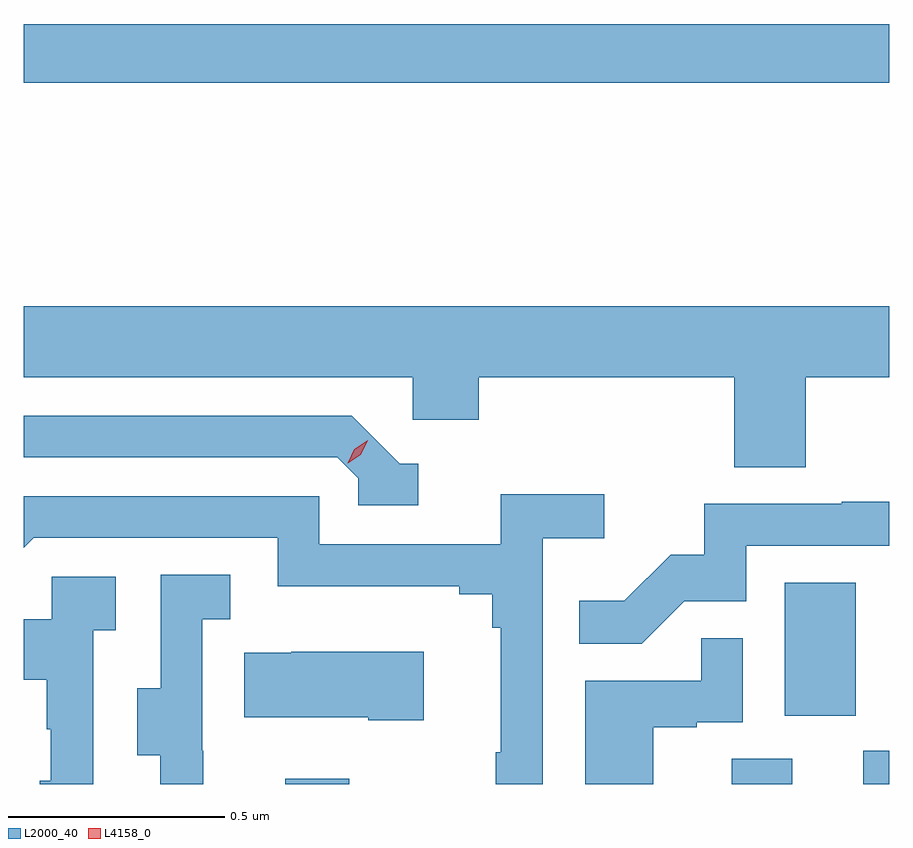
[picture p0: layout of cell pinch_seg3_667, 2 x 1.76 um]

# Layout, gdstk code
import gdstk
lib = gdstk.Library(unit=1e-6, precision=1e-09)
def R(c, l, rs):  # rectangles x0, y0, x1, y1
    for r in rs: c.add(gdstk.rectangle(r[:2], r[2:], *l))
def P(c, l, *ps):  # polygons
    for p in ps: c.add(gdstk.Polygon(p, *l))
L2000_40 = (2000, 40)
L4158_0 = (4158, 0)

pinch_seg3_667 = lib.new_cell('pinch_seg3_667')
R(pinch_seg3_667, L2000_40, [(1050.431,673.336,1050.579,673.348), (1051.463,673.336,1051.603,673.394), (1051.767,673.336,1051.827,673.413), (1051.586,673.494,1051.75,673.801), (1049.827,674.956,1051.827,675.092)])
P(pinch_seg3_667, L2000_40, [(1051.634,674.276),(1051.827,674.276),(1051.827,674.44),(1049.827,674.44),(1049.827,674.276),(1050.726,674.276),(1050.726,674.178),(1050.878,674.178),(1050.878,674.276),(1051.469,674.276),(1051.469,674.068),(1051.634,674.068)],
  [(1050.739,674.076),(1050.696,674.076),(1050.585,674.187),(1049.827,674.187),(1049.827,674.091),(1050.552,674.091),(1050.6,674.043),(1050.6,673.98),(1050.739,673.98)],
  [(1051.026,673.904),(1051.168,673.904),(1051.168,674.006),(1050.929,674.006),(1050.929,673.89),(1050.51,673.89),(1050.51,674.001),(1049.827,674.001),(1049.827,673.882),(1049.85,673.905),(1050.414,673.905),(1050.414,673.793),(1050.833,673.793),(1050.833,673.774),(1050.91,673.774),(1050.91,673.697),(1050.929,673.697),(1050.929,673.409),(1050.918,673.409),(1050.918,673.336),(1051.026,673.336)],
  [(1051.353,673.758),(1051.497,673.758),(1051.497,673.887),(1051.827,673.887),(1051.827,673.988),(1051.717,673.988),(1051.717,673.983),(1051.399,673.983),(1051.399,673.866),(1051.322,673.866),(1051.215,673.759),(1051.111,673.759),(1051.111,673.66),(1051.255,673.66)],
  [(1050.242,673.413),(1050.24,673.413),(1050.24,673.717),(1050.304,673.717),(1050.304,673.82),(1050.144,673.82),(1050.144,673.557),(1050.089,673.557),(1050.089,673.402),(1050.143,673.402),(1050.143,673.336),(1050.242,673.336)],
  [(1049.988,673.691),(1050.04,673.691),(1050.04,673.815),(1049.892,673.815),(1049.892,673.717),(1049.827,673.717),(1049.827,673.577),(1049.88,673.577),(1049.88,673.463),(1049.89,673.463),(1049.89,673.344),(1049.864,673.344),(1049.864,673.336),(1049.988,673.336)],
  [(1051.282,673.467),(1051.382,673.467),(1051.382,673.479),(1051.488,673.479),(1051.488,673.673),(1051.393,673.673),(1051.393,673.575),(1051.124,673.575),(1051.124,673.336),(1051.282,673.336)],
  [(1050.751,673.642),(1050.445,673.642),(1050.445,673.639),(1050.337,673.639),(1050.337,673.49),(1050.623,673.49),(1050.623,673.483),(1050.751,673.483)])
P(pinch_seg3_667, L4158_0, [(1050.576,674.077),(1050.576,674.077),(1050.591,674.11),(1050.622,674.13),(1050.622,674.13),(1050.622,674.13),(1050.606,674.097),(1050.576,674.077)])

lib.write_gds('pinch_seg3_667.gds')
